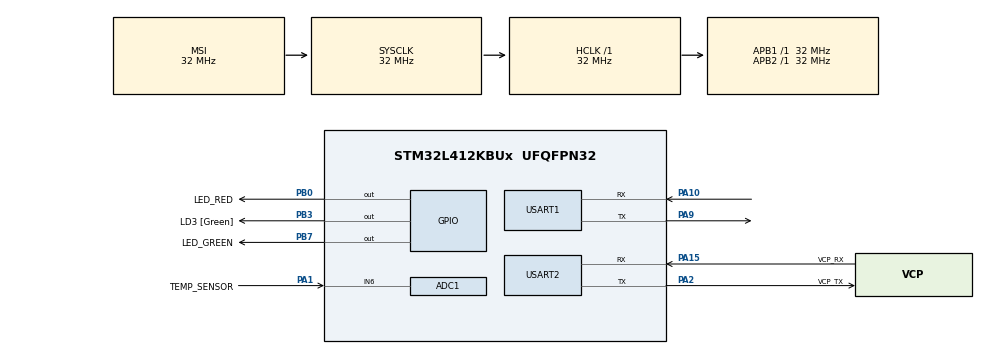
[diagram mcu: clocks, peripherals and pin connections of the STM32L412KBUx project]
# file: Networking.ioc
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ADC1.Channel-2\#ChannelRegularConversion=ADC_CHANNEL_6
ADC1.NbrOfConversionFlag=1
ADC1.OffsetNumber-2\#ChannelRegularConversion=ADC_OFFSET_NONE
ADC1.Rank-2\#ChannelRegularConversion=1
ADC1.SamplingTime-2\#ChannelRegularConversion=ADC_SAMPLETIME_2CYCLES_5
ADC1.master=1
Mcu.Family=STM32L4
Mcu.Name=STM32L412KBUx
Mcu.Package=UFQFPN32
NVIC.PriorityGroup=NVIC_PRIORITYGROUP_4
NVIC.RTC_WKUP_IRQn=true\:0\:0\:false\:false\:true\:true\:true\:true
NVIC.TIM1_UP_TIM16_IRQn=true\:0\:0\:false\:false\:true\:true\:true\:true
NVIC.TIM2_IRQn=true\:1\:0\:true\:false\:true\:true\:true\:true
NVIC.USART1_IRQn=true\:2\:0\:true\:false\:true\:true\:true\:true
NVIC.USART2_IRQn=true\:3\:0\:true\:false\:true\:true\:true\:true
PA1.GPIO_Label=TEMP_SENSOR
PA1.Signal=ADCx_IN6
PA10.GPIO_ModeDefaultPP=GPIO_MODE_AF_OD
PA10.GPIO_Speed=GPIO_SPEED_FREQ_VERY_HIGH
PA10.Mode=Asynchronous
PA10.Signal=USART1_RX
PA13\ (JTMS/SWDIO).GPIO_Label=SWDIO
PA13\ (JTMS/SWDIO).Signal=SYS_JTMS-SWDIO
PA14\ (JTCK/SWCLK).GPIO_Label=SWCLK
PA14\ (JTCK/SWCLK).Signal=SYS_JTCK-SWCLK
PA15\ (JTDI).GPIO_Label=VCP_RX
PA15\ (JTDI).Mode=Asynchronous
PA15\ (JTDI).Signal=USART2_RX
PA2.GPIO_Label=VCP_TX
PA2.Mode=Asynchronous
PA2.Signal=USART2_TX
PA9.GPIO_Speed=GPIO_SPEED_FREQ_VERY_HIGH
PA9.Mode=Asynchronous
PA9.Signal=USART1_TX
PB0.GPIO_Label=LED_RED
PB0.Signal=GPIO_Output
PB3\ (JTDO/TRACESWO).GPIO_Label=LD3 [Green]
PB3\ (JTDO/TRACESWO).GPIO_Speed=GPIO_SPEED_FREQ_LOW
PB3\ (JTDO/TRACESWO).Signal=GPIO_Output
PB7.GPIO_Label=LED_GREEN
PB7.Signal=GPIO_Output
PC14-OSC32_IN\ (PC14).Mode=LSE-External-Oscillator
PC14-OSC32_IN\ (PC14).Signal=RCC_OSC32_IN
PC15-OSC32_OUT\ (PC15).Mode=LSE-External-Oscillator
PC15-OSC32_OUT\ (PC15).Signal=RCC_OSC32_OUT
ProjectManager.HeapSize=0x200
ProjectManager.StackSize=0x400
ProjectManager.TargetToolchain=STM32CubeIDE
RCC.ADCFreq_Value=32000000
RCC.AHBFreq_Value=32000000
RCC.APB1Freq_Value=32000000
RCC.APB1TimFreq_Value=32000000
RCC.APB2Freq_Value=32000000
RCC.APB2TimFreq_Value=32000000
RCC.CortexFreq_Value=32000000
RCC.FLatency=FLASH_LATENCY_1
RCC.HCLKFreq_Value=32000000
RCC.HSE_VALUE=8000000
RCC.HSI48_VALUE=48000000
RCC.HSICalibrationValue=16
RCC.HSI_VALUE=16000000
RCC.MSIClockRange=RCC_MSIRANGE_10
RCC.MSI_VALUE=32000000
RCC.SYSCLKFreq_VALUE=32000000
RCC.USBFreq_Value=32000000
RCC.VCOOutputFreq_Value=256000000
SH.ADCx_IN6.0=ADC1_IN6,IN6-Single-Ended
TIM16.AutoReloadPreload=TIM_AUTORELOAD_PRELOAD_ENABLE
TIM16.ClockDivision=TIM_CLOCKDIVISION_DIV1
TIM16.Period=1000-1
TIM16.Prescaler=32000-1
TIM2.AutoReloadPreload=TIM_AUTORELOAD_PRELOAD_ENABLE
TIM2.ClockDivision=TIM_CLOCKDIVISION_DIV1
TIM2.CounterMode=TIM_COUNTERMODE_UP
TIM2.Period=1000 - 1
TIM2.Prescaler=32 - 1
USART1.VirtualMode-Asynchronous=VM_ASYNC
USART2.VirtualMode-Asynchronous=VM_ASYNC
VP_RTC_VS_RTC_Activate.Mode=RTC_Enabled
VP_RTC_VS_RTC_WakeUp_intern.Mode=WakeUp
VP_TIM16_VS_ClockSourceINT.Mode=Enable_Timer
VP_TIM2_VS_ClockSourceINT.Mode=Internal
board=NUCLEO-L412KB

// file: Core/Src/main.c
/* USER CODE BEGIN Header */
/**
  ******************************************************************************
  * @file           : main.c
  * @brief          : Main program body
  * @author         : Arden Diakhate-Palme
  *                 Modified by Karen A., Ankita B.
  ******************************************************************************
  * @attention
  *
  * Copyright (c) 2022 STMicroelectronics.
  * All rights reserved.
  *
  * This software is licensed under terms that can be found in the LICENSE file
  * in the root directory of this software component.
  * If no LICENSE file comes with this software, it is provided AS-IS.
  *
  ******************************************************************************
  */
/* USER CODE END Header */
#include "main.h"

/* USER CODE BEGIN Includes */
#include <stdlib.h>
#include <string.h>
#include <stdio.h>
#include <stdbool.h>
#include <assert.h>
#include <time.h>

#include "lora.h"
#include "uart.h"
#include "protocols.h"
#include "packet.h"
#include "graph.h"
#include "schedule.h"
#include "exe_sch.h"
#include "stop.h"
#include "standby.h"
#include "prints.h"

/* USER CODE END Includes */

ADC_HandleTypeDef hadc1;

RTC_HandleTypeDef hrtc;

TIM_HandleTypeDef htim2;
TIM_HandleTypeDef htim16;

UART_HandleTypeDef huart1;
UART_HandleTypeDef huart2;

/* USER CODE BEGIN PV */

/***** CONFIGURATION: change before uploading to each board ***/
const int NUM_NODES = 9;
const enum topology_t NETWORK_TOPOLOGY = MESH_9;
#define RESET_NODE 1   // NOTE: only resets address
#define TEST_MODEM 1
const int GW_ROOT_ADDR = 1;
const int NODE_ADDR = 2;
/***** END CONFIGURATION ***/

const int MAX_STP_ITER = 1;
const int STP_TS = 4000; // in milliseconds
const int STP_CYCLE = (NUM_NODES + 1) * STP_TS;
const int MAX_PKT_SZ = 240;
const int DATA_TS = 18000; //in milliseconds
const int DC_TS = 5000; // in milliseconds
const int TEMP_THRESH = 85; // increase in ADC reading of temp to trigger a fire warning
const int DATA_RECV_WIN = 2000; // in milliseconds
const uint32_t ACK_TIMEOUT = 4000; // in milliseconds
const int PKT_TX_DELAY = 41; //ms

const int LORA_TOA = 1972; // Time on Air in ms
const int TIME_BUF = 300;
const int PRINT_TIME = 40; //ms

lora_info_t lora = {};

static bool ts_interrupt = false;

bool data_phase = false;
uint32_t tim2_tick_count = 0; // tick count in milliseconds

char lora_echo_buf[240];

/* USER CODE END PV */

void SystemClock_Config(void);
static void MX_GPIO_Init(void);
static void MX_USART1_UART_Init(void);
static void MX_USART2_UART_Init(void);
static void MX_TIM2_Init(void);
static void MX_RTC_Init(void);
static void MX_TIM16_Init(void);
static void MX_ADC1_Init(void);

int main(void)
{

  /* MCU Configuration--------------------------------------------------------*/

  /* Reset of all peripherals, Initializes the Flash interface and the Systick. */
  HAL_Init();

  /* Configure the system clock */
  SystemClock_Config();

  /* Initialize all configured peripherals */
  MX_GPIO_Init();
  MX_USART1_UART_Init();
  MX_USART2_UART_Init();
  MX_TIM2_Init();
  MX_RTC_Init();
  MX_TIM16_Init();
  MX_ADC1_Init();
  /* USER CODE BEGIN 2 */
    char printf_buf[80];
    int err=0;
    HAL_TIM_Base_Start_IT(&htim2);
    HAL_TIM_Base_Start_IT(&htim16);
    uint32_t start_time, end_time, elapsed_time;
    srand(time(NULL));

    // configure initial mesh topology
    mixnet_node_config_t config;
    config.node_addr = NODE_ADDR;
    set_topology(&config, NUM_NODES, NETWORK_TOPOLOGY);

    /* STP variables */
    int initial_stp_timeout = config.node_addr * STP_TS; // initial timeout to receive updates before transmitting your STP advertisement
    int stp_timeout, stp_remaining_time;
    int stp_iter = 0;
    stp_route_t stp_route_db;
    stp_route_db.root_address = config.node_addr;
    stp_route_db.path_length = 0;
    stp_route_db.next_hop_address = config.node_addr;
    stp_route_db.stp_ports = calloc(config.num_neighbors, 1);
    activate_all_ports(stp_route_db.stp_ports, config.num_neighbors);
    stp_route_db.stp_parent_addr = -1;
    stp_route_db.stp_parent_path_length = -1;
    mixnet_packet_stp_t *recvd_stp_pkt;
    bool stp_txen = false;              // whether the node will transmit in the half-cycle of the STP
    uint8_t *recvd_from_ports = calloc(config.num_neighbors, 1);

    /* LSA variables */
    uint8_t parent_port = 0;
    uint8_t num_tree_children = 0;
    mixnet_packet_lsa_t *recvd_lsa_pkt;
    graph_t *net_graph = graph_init();
    (void)graph_add_neighbors(net_graph, config.node_addr, config.neighbor_addrs, config.num_neighbors);

    /* SCH variables */
    schedule_t node_sch;
    data_sch_config_t sch_config;
    packet_sch_t *recvd_sch_pkt;
    init_sch(&node_sch);
    init_sch_config(&sch_config);
    uint64_t delay_to_phase4 = 0;

    /* DATA variables */
    data_config_t sensor_db;
    packet_data_t *recvd_data_pkt;
    init_sensor_db(&config, &sensor_db);

    HAL_printf("[Node %d]\n", config.node_addr);

    // initialize transcievers
    start_time = tim2_tick_count;
    HAL_GPIO_WritePin(LED_RED_GPIO_Port, LED_RED_Pin, GPIO_PIN_SET);
    #if RESET_NODE
    if((err=config_LORA(&huart1, &huart2, config.node_addr))<0){
        HAL_printf("Configuration error\n");
        exit(1);
    }
    HAL_printf("[configuration done]\n");
    wait_ms(PRINT_TIME);
    #endif
    wait_ms(PRINT_TIME);
    if((err=init_LORA(&huart1, &huart2))<0){
        HAL_printf("Initialization error\n");
        exit(1);
    }
    end_time = tim2_tick_count;
    HAL_printf("[initialization done]\n");
    wait_ms(PRINT_TIME);
    HAL_printf("time: %u\n", tim2_tick_count);
    wait_ms(PRINT_TIME);
    HAL_GPIO_WritePin(LED_RED_GPIO_Port, LED_RED_Pin, GPIO_PIN_RESET);

    char *raw_packet;
    mixnet_packet_t *recvd_packet;
    int recv_port = 0;
    err_code_t err_code;
    bool goto_next_proto_iter = false;

    /* Testing reliable data transfer, and channel conditions */
    #if TEST_MODEM
    int iter = 1;
    start_time = tim2_tick_count;

    while(1){
        if(config.node_addr == 2) {
            HAL_printf("[%d] Receiving 3 packets..\n", config.node_addr);
            for(int i=0; i<3; i++) {
                raw_packet = rdt_recv_pkt(&huart1, &huart2, &config);
                assert(raw_packet != NULL);
                recvd_packet = (mixnet_packet_t*)raw_packet;
                HAL_printf("Application received packet [SEQ %u] from %u\n", recvd_packet->seqnum, recvd_packet->src_address);
            }

            wait_ms(1000);

            HAL_printf("[%d] Sending 3 packets...\n", config.node_addr);
            for(int i=0; i<3; i++){
                send_lsa_req(&config, 1);
            }
        }

        if(config.node_addr == 1) {
            HAL_printf("[%d] Sending 3 packets...\n", config.node_addr);
            for(int i=0; i<3; i++){
                send_lsa_req(&config, 2);
            }

            wait_ms(1000);

            HAL_printf("[%d] Receiving 3 packets..\n", config.node_addr);
            for(int i=0; i<3; i++) {
                raw_packet = rdt_recv_pkt(&huart1, &huart2, &config);
                assert(raw_packet != NULL);
                recvd_packet = (mixnet_packet_t*)raw_packet;
                HAL_printf("Application received packet [SEQ %u] from %u\n", recvd_packet->seqnum, recvd_packet->src_address);
            }
        }

        elapsed_time = tim2_tick_count - start_time;
        HAL_printf("[%d] (%u) cycle done in %lu ms\n\n", iter++, tim2_tick_count, elapsed_time);

        for(int i=0; i<iter; i++){
            HAL_GPIO_WritePin(LD3_GPIO_Port, LD3_Pin, GPIO_PIN_SET);
            wait_ms(500);
            HAL_GPIO_WritePin(LD3_GPIO_Port, LD3_Pin, GPIO_PIN_RESET);
        }

        iter++;
    }
    #endif

    /* Synchronization Option 1:
     * Entry point for all nodes
     * Wait for X minutes in a lower power mode
     */

    if (__HAL_PWR_GET_FLAG(PWR_FLAG_SB) == RESET) {
        __HAL_PWR_CLEAR_FLAG(PWR_FLAG_SB);  // clear the flag
        HAL_GPIO_WritePin(LED_GREEN_GPIO_Port, LED_GREEN_Pin, GPIO_PIN_SET);
        wait_ms(90000);
        /*
        uint16_t stop_time = 90;
        enter_stop(stop_time);
        */
        HAL_GPIO_WritePin(LED_GREEN_GPIO_Port, LED_GREEN_Pin, GPIO_PIN_RESET);
    }

    /* TDM STP PROTOCOL */
    HAL_printf("============= Phase 1: STP =============\n");
    // wait_ms(PRINT_TIME);
    start_time = 0;
    end_time = 0;

    // set the indicate the root at onset (shine red LED)
    if(stp_route_db.root_address == GW_ROOT_ADDR) {
        HAL_GPIO_WritePin(LED_RED_GPIO_Port, LED_RED_Pin, GPIO_PIN_SET);
    }
    while(stp_iter < 2 * MAX_STP_ITER) {
        if(stp_iter % 2 == 0) {
            stp_txen = true;
            stp_timeout = initial_stp_timeout;
        }else{
            stp_txen = false;
            stp_timeout = STP_CYCLE - initial_stp_timeout;
        }

        end_time = tim2_tick_count;
        start_time = tim2_tick_count;
        do {
            // THIS PRINT IS NECESSARY
            HAL_printf("[iteration %u, timeout: %lu]\n", stp_iter+1, (uint32_t)(stp_timeout - (end_time - start_time)));

            raw_packet = lora_recv_data(&huart1, &huart2, start_time, (stp_timeout - (end_time - start_time)), NON_BLOCKING, &err_code);
            end_time = tim2_tick_count;

            // if we actually received a packet
            if(raw_packet != NULL) {
                recvd_packet = (mixnet_packet_t*)raw_packet;

                #if DBG_STP
                HAL_printf("[%d] received packet type %u from %u\n", config.node_addr, recvd_packet->type, recvd_packet->src_address);
                wait_ms(PRINT_TIM);
                #endif

                // was the packet from a neighbor?
                recv_port = get_port(config.neighbor_addrs, config.num_neighbors, recvd_packet->src_address);
                if(recv_port != -1 && (recvd_packet->type == PACKET_TYPE_STP)) {
                    recvd_stp_pkt = (mixnet_packet_stp_t*)recvd_packet->payload;

                    HAL_printf("[%d] received STP packet: (%d, %d, %d)\n",
                                config.node_addr, recvd_stp_pkt->root_address, recvd_stp_pkt->path_length, recvd_stp_pkt->node_address);
                    // wait_ms(PRINT_TIME);
                    UART2_tx(printf_buf);

                    recvd_from_ports[recv_port] = 1;

                    update_stp_db(&config, (uint8_t)recv_port, &stp_route_db, recvd_stp_pkt);
                    if(stp_route_db.root_address == GW_ROOT_ADDR){
                    HAL_GPIO_WritePin(LD3_GPIO_Port, LD3_Pin, GPIO_PIN_SET);
                    }
                }

                free(recvd_packet);
            }
        }while((end_time - start_time) < stp_timeout);

        if(stp_txen) {
            broadcast_stp(&config, &stp_route_db);
        }

        stp_iter++;
    }

    // block ports to unresponsive neighbors (offline nodes)
    for(int i=0; i<config.num_neighbors; i++) {
        stp_route_db.stp_ports[i] &= recvd_from_ports[i];
        if(recvd_from_ports[i] == 0){
            // remove from your own list (before even running LSA)
            remove_tree_neighbor(&config, net_graph, config.neighbor_addrs[i]);
        }
    }
    print_ports(&config, stp_route_db.stp_ports);
    print_graph(net_graph);

    HAL_GPIO_WritePin(LD3_GPIO_Port, LD3_Pin, GPIO_PIN_RESET);

    /* LSA PROTOCOL */
    HAL_printf("============= Phase 2: LSA =============\n");
    // wait_ms(PRINT_TIME);

    if(config.node_addr == GW_ROOT_ADDR) {
        num_tree_children = get_child_node_lsa(&config, &stp_route_db, net_graph);

    // non-gateway nodes
    }else{
        raw_packet = rdt_recv_pkt(&huart1, &huart2, &config);

        // if we actually received a packet
        if(raw_packet != NULL) {
            recvd_packet = (mixnet_packet_t*)raw_packet;

            #if DBG_LSA
            HAL_printf("[%d] received packet from node %u\n", config.node_addr, recvd_packet->src_address);
            #endif

            // was the packet from a neighbor?
            recv_port = get_port(config.neighbor_addrs, config.num_neighbors, recvd_packet->src_address);
            if(recv_port != -1 &&  (recvd_packet->type == PACKET_TYPE_LSA)) {
                recvd_lsa_pkt = (mixnet_packet_lsa_t*)recvd_packet->payload;

                // was the packet from a TREE neighbor?
                if(stp_route_db.stp_ports[recv_port]) {
                    if(recvd_lsa_pkt->flags == LSA_REQ){
                        #if DBG_LSA
                        HAL_printf("[%d] received LSA request from %u\n", config.node_addr, recvd_packet->src_address);
                        #endif

                        parent_port = get_port(config.neighbor_addrs, config.num_neighbors, stp_route_db.stp_parent_addr);
                        assert(parent_port == recv_port);

                        stp_route_db.stp_ports[parent_port] = 0;
                        num_tree_children = get_child_node_lsa(&config, &stp_route_db, net_graph);
                        stp_route_db.stp_ports[parent_port] = 1;

                        wait_ms(500);

                        if((err=send_lsa_resp(&config, &stp_route_db, net_graph)) < 0){
                            HAL_printf("[%d] Failed to send LSA_RESP to upstream parent\n", config.node_addr);
                            goto_next_proto_iter = true;
                        }

                        HAL_printf("[%d] sent complete LSA_RESP\n", config.node_addr);

                    }else{
                        HAL_printf("[%d] ERROR: expected LSA_REQ, received %u\n", config.node_addr, recvd_lsa_pkt->flags);
                    }

                // packet not from a TREE neighbor
                }else{
                    if(recvd_lsa_pkt->flags == LSA_REQ){
                        HAL_printf("[%d] got LSA_REQ from inactive link\n", config.node_addr);
                        send_lsa_inv(&config, recvd_packet->src_address);
                    }
                }
            }
            free(recvd_packet);
        }
    }

    if(goto_next_proto_iter){
        HAL_printf("[%d] Waiting in standby until the next time the protocol is run\n", config.node_addr);
        while(1);
    }

    print_ports(&config, stp_route_db.stp_ports);
    print_graph(net_graph);

    /* RX/TX SCHEDULE */
    HAL_printf("============= Phase 3: SCH =============\n");

    if(config.node_addr == GW_ROOT_ADDR) {
        populate_schedule(net_graph, &node_sch);
        print_schedule(&node_sch);

        // send schedule to each neighbor, and wait for an ACK from them
        query_sch(&config, &stp_route_db, &node_sch, delay_to_phase4);

    // non-gateway nodes
    }else{
        while(1) {
            raw_packet = rdt_recv_pkt(&huart1, &huart2, &config);

            // if we actually received a packet
            if(raw_packet != NULL) {
            recvd_packet = (mixnet_packet_t*)raw_packet;

                // was the packet from a neighbor?
                recv_port = get_port(config.neighbor_addrs, config.num_neighbors, recvd_packet->src_address);
                if(recv_port != -1){
                    if((recvd_packet->type == PACKET_TYPE_SCH) && (stp_route_db.stp_ports[recv_port] == 1)) {
                        recvd_sch_pkt = (packet_sch_t*)recvd_packet->payload;

                        HAL_printf("[%d] received schedule from node %u\n", config.node_addr, recvd_packet->src_address);

                        delay_to_phase4 = recvd_sch_pkt->delay_to_phase4;
                        populate_local_sch(&node_sch, recvd_sch_pkt);
                        print_schedule(&node_sch);

                        populate_sch_config(&config, &node_sch, &sch_config);

                        // send schedule to each child, and wait for an ACK from each of them
                        parent_port = get_port(config.neighbor_addrs, config.num_neighbors, stp_route_db.stp_parent_addr);
                        assert(parent_port == recv_port);

                        if(num_tree_children > 0) {
                            stp_route_db.stp_ports[parent_port] = 0;
                            query_sch(&config, &stp_route_db, &node_sch, delay_to_phase4);
                            stp_route_db.stp_ports[parent_port] = 1;
                        }

                        wait_ms(500);

                        send_sch_ack(&config, stp_route_db.stp_parent_addr);

                        HAL_printf("[%d] sent SCH ACK to node %u\n", config.node_addr, stp_route_db.stp_parent_addr);
                        break;

                    }else if((recvd_packet->type == PACKET_TYPE_LSA) &&
                            (stp_route_db.stp_ports[recv_port] == 0) &&
                            (recvd_lsa_pkt->flags == LSA_REQ)){
                        HAL_printf("[%d] got LSA_REQ from inactive link\n", config.node_addr);
                        send_lsa_inv(&config, recvd_packet->src_address);
                    }
                }

                free(recvd_packet);
            }
        }
        print_sch_config(&sch_config);
    }

    HAL_printf(printf_buf, "time: %lu, waiting %lu\n", (uint32_t)tim2_tick_count, (uint32_t)(delay_to_phase4 - tim2_tick_count)); //depends on the topology
    if(delay_to_phase4 > tim2_tick_count){
        wait_ms(delay_to_phase4 - tim2_tick_count);
    }

    /* DATA Phase */
    HAL_printf("============= Phase 4: DATA ============\n");

    if(config.node_addr == GW_ROOT_ADDR){
        HAL_printf("Running echo server\n");

        raw_packet = rdt_recv_pkt(&huart1, &huart2, &config);

        if(raw_packet != NULL){
            recvd_packet = (mixnet_packet_t*)raw_packet;

            recv_port = get_port(config.neighbor_addrs, config.num_neighbors, recvd_packet->src_address);
            if(recv_port != -1 && (recvd_packet->type == PACKET_TYPE_DATA)) {
                recvd_data_pkt = (packet_data_t*)recvd_packet->payload;
                populate_sensor_data(&sensor_db, recvd_data_pkt);
            }
            free(recvd_packet);
        }

        print_sensor_db(&sensor_db);

    }else{
        exe_sch();

        while(data_phase){
            if(ts_interrupt){
                check_data_schedule(&config, stp_route_db.stp_parent_addr, sch_config, &sensor_db);
                ts_interrupt = false;
            }
        }

        HAL_printf("Done with protocol stack.\n");
    }

    int16_t standby_time = 60;
    HAL_printf("going to sleep for %u seconds\n",  standby_time);
    sleep_LORA();
    enter_standby(hrtc, huart2,  standby_time);

  /* USER CODE END 2 */

  /* Infinite loop */
    while (1)
    {

    }
}

void SystemClock_Config(void)
{
  RCC_OscInitTypeDef RCC_OscInitStruct = {0};
  RCC_ClkInitTypeDef RCC_ClkInitStruct = {0};

  /** Configure the main internal regulator output voltage
  */
  if (HAL_PWREx_ControlVoltageScaling(PWR_REGULATOR_VOLTAGE_SCALE1) != HAL_OK)
  {
    Error_Handler();
  }

  /** Configure LSE Drive Capability
  */
  HAL_PWR_EnableBkUpAccess();
  __HAL_RCC_LSEDRIVE_CONFIG(RCC_LSEDRIVE_LOW);

  /** Initializes the RCC Oscillators according to the specified parameters
  * in the RCC_OscInitTypeDef structure.
  */
  RCC_OscInitStruct.OscillatorType = RCC_OSCILLATORTYPE_LSI|RCC_OSCILLATORTYPE_LSE
                              |RCC_OSCILLATORTYPE_MSI;
  RCC_OscInitStruct.LSEState = RCC_LSE_ON;
  RCC_OscInitStruct.LSIState = RCC_LSI_ON;
  RCC_OscInitStruct.MSIState = RCC_MSI_ON;
  RCC_OscInitStruct.MSICalibrationValue = 0;
  RCC_OscInitStruct.MSIClockRange = RCC_MSIRANGE_10;
  RCC_OscInitStruct.PLL.PLLState = RCC_PLL_NONE;
  if (HAL_RCC_OscConfig(&RCC_OscInitStruct) != HAL_OK)
  {
    Error_Handler();
  }

  /** Initializes the CPU, AHB and APB buses clocks
  */
  RCC_ClkInitStruct.ClockType = RCC_CLOCKTYPE_HCLK|RCC_CLOCKTYPE_SYSCLK
                              |RCC_CLOCKTYPE_PCLK1|RCC_CLOCKTYPE_PCLK2;
  RCC_ClkInitStruct.SYSCLKSource = RCC_SYSCLKSOURCE_MSI;
  RCC_ClkInitStruct.AHBCLKDivider = RCC_SYSCLK_DIV1;
  RCC_ClkInitStruct.APB1CLKDivider = RCC_HCLK_DIV1;
  RCC_ClkInitStruct.APB2CLKDivider = RCC_HCLK_DIV1;

  if (HAL_RCC_ClockConfig(&RCC_ClkInitStruct, FLASH_LATENCY_1) != HAL_OK)
  {
    Error_Handler();
  }

  /** Enable MSI Auto calibration
  */
  HAL_RCCEx_EnableMSIPLLMode();
}

static void MX_ADC1_Init(void)
{

  ADC_MultiModeTypeDef multimode = {0};
  ADC_ChannelConfTypeDef sConfig = {0};

  /** Common config
  */
  hadc1.Instance = ADC1;
  hadc1.Init.ClockPrescaler = ADC_CLOCK_ASYNC_DIV1;
  hadc1.Init.Resolution = ADC_RESOLUTION_12B;
  hadc1.Init.DataAlign = ADC_DATAALIGN_RIGHT;
  hadc1.Init.ScanConvMode = ADC_SCAN_DISABLE;
  hadc1.Init.EOCSelection = ADC_EOC_SINGLE_CONV;
  hadc1.Init.LowPowerAutoWait = DISABLE;
  hadc1.Init.ContinuousConvMode = DISABLE;
  hadc1.Init.NbrOfConversion = 1;
  hadc1.Init.DiscontinuousConvMode = DISABLE;
  hadc1.Init.ExternalTrigConv = ADC_SOFTWARE_START;
  hadc1.Init.ExternalTrigConvEdge = ADC_EXTERNALTRIGCONVEDGE_NONE;
  hadc1.Init.DMAContinuousRequests = DISABLE;
  hadc1.Init.Overrun = ADC_OVR_DATA_PRESERVED;
  hadc1.Init.OversamplingMode = DISABLE;
  if (HAL_ADC_Init(&hadc1) != HAL_OK)
  {
    Error_Handler();
  }

  /** Configure the ADC multi-mode
  */
  multimode.Mode = ADC_MODE_INDEPENDENT;
  if (HAL_ADCEx_MultiModeConfigChannel(&hadc1, &multimode) != HAL_OK)
  {
    Error_Handler();
  }

  /** Configure Regular Channel
  */
  sConfig.Channel = ADC_CHANNEL_6;
  sConfig.Rank = ADC_REGULAR_RANK_1;
  sConfig.SamplingTime = ADC_SAMPLETIME_2CYCLES_5;
  sConfig.SingleDiff = ADC_SINGLE_ENDED;
  sConfig.OffsetNumber = ADC_OFFSET_NONE;
  sConfig.Offset = 0;
  if (HAL_ADC_ConfigChannel(&hadc1, &sConfig) != HAL_OK)
  {
    Error_Handler();
  }

}

static void MX_RTC_Init(void)
{

  /** Initialize RTC Only
  */
  hrtc.Instance = RTC;
  hrtc.Init.HourFormat = RTC_HOURFORMAT_24;
  hrtc.Init.AsynchPrediv = 127;
  hrtc.Init.SynchPrediv = 255;
  hrtc.Init.OutPut = RTC_OUTPUT_DISABLE;
  hrtc.Init.OutPutRemap = RTC_OUTPUT_REMAP_NONE;
  hrtc.Init.OutPutPolarity = RTC_OUTPUT_POLARITY_HIGH;
  hrtc.Init.OutPutType = RTC_OUTPUT_TYPE_OPENDRAIN;
  hrtc.Init.OutPutPullUp = RTC_OUTPUT_PULLUP_NONE;
  if (HAL_RTC_Init(&hrtc) != HAL_OK)
  {
    Error_Handler();
  }

  /** Enable the WakeUp
  */
  if (HAL_RTCEx_SetWakeUpTimer_IT(&hrtc, 0, RTC_WAKEUPCLOCK_RTCCLK_DIV16, 0) != HAL_OK)
  {
    Error_Handler();
  }

}

static void MX_TIM2_Init(void)
{

  TIM_ClockConfigTypeDef sClockSourceConfig = {0};
  TIM_MasterConfigTypeDef sMasterConfig = {0};

  htim2.Instance = TIM2;
  htim2.Init.Prescaler = 32 - 1;
  htim2.Init.CounterMode = TIM_COUNTERMODE_UP;
  htim2.Init.Period = 1000 - 1;
  htim2.Init.ClockDivision = TIM_CLOCKDIVISION_DIV1;
  htim2.Init.AutoReloadPreload = TIM_AUTORELOAD_PRELOAD_ENABLE;
  if (HAL_TIM_Base_Init(&htim2) != HAL_OK)
  {
    Error_Handler();
  }
  sClockSourceConfig.ClockSource = TIM_CLOCKSOURCE_INTERNAL;
  if (HAL_TIM_ConfigClockSource(&htim2, &sClockSourceConfig) != HAL_OK)
  {
    Error_Handler();
  }
  sMasterConfig.MasterOutputTrigger = TIM_TRGO_RESET;
  sMasterConfig.MasterSlaveMode = TIM_MASTERSLAVEMODE_DISABLE;
  if (HAL_TIMEx_MasterConfigSynchronization(&htim2, &sMasterConfig) != HAL_OK)
  {
    Error_Handler();
  }

}

static void MX_TIM16_Init(void)
{

  htim16.Instance = TIM16;
  htim16.Init.Prescaler = 32000-1;
  htim16.Init.CounterMode = TIM_COUNTERMODE_UP;
  htim16.Init.Period = 1000-1;
  htim16.Init.ClockDivision = TIM_CLOCKDIVISION_DIV1;
  htim16.Init.RepetitionCounter = 0;
  htim16.Init.AutoReloadPreload = TIM_AUTORELOAD_PRELOAD_ENABLE;
  if (HAL_TIM_Base_Init(&htim16) != HAL_OK)
  {
    Error_Handler();
  }

}

static void MX_USART1_UART_Init(void)
{

  /* USER CODE BEGIN USART1_Init 0 */

  GPIO_InitTypeDef GPIO_InitStructure;
  GPIO_InitStructure.Alternate = GPIO_AF7_USART1;
  GPIO_InitStructure.Speed = GPIO_SPEED_LOW;
  GPIO_InitStructure.Pull = GPIO_NOPULL;

  // PA9 is UART1 TX
  GPIO_InitStructure.Pin = GPIO_PIN_9;
  GPIO_InitStructure.Mode = GPIO_MODE_AF_PP;
  HAL_GPIO_Init(GPIOA, &GPIO_InitStructure);

  // PA10 is UART1 RX
  GPIO_InitStructure.Pin = GPIO_PIN_10;
  GPIO_InitStructure.Mode = GPIO_MODE_AF_OD;
  HAL_GPIO_Init(GPIOA, &GPIO_InitStructure);

  /* USER CODE END USART1_Init 0 */

  huart1.Instance = USART1;
  huart1.Init.BaudRate = 115200;
  huart1.Init.WordLength = UART_WORDLENGTH_8B;
  huart1.Init.StopBits = UART_STOPBITS_1;
  huart1.Init.Parity = UART_PARITY_NONE;
  huart1.Init.Mode = UART_MODE_TX_RX;
  huart1.Init.HwFlowCtl = UART_HWCONTROL_NONE;
  huart1.Init.OverSampling = UART_OVERSAMPLING_16;
  huart1.Init.OneBitSampling = UART_ONE_BIT_SAMPLE_DISABLE;
  huart1.AdvancedInit.AdvFeatureInit = UART_ADVFEATURE_NO_INIT;
  if (HAL_UART_Init(&huart1) != HAL_OK)
  {
    Error_Handler();
  }

}

static void MX_USART2_UART_Init(void)
{

  huart2.Instance = USART2;
  huart2.Init.BaudRate = 115200;
  huart2.Init.WordLength = UART_WORDLENGTH_8B;
  huart2.Init.StopBits = UART_STOPBITS_1;
  huart2.Init.Parity = UART_PARITY_NONE;
  huart2.Init.Mode = UART_MODE_TX_RX;
  huart2.Init.HwFlowCtl = UART_HWCONTROL_NONE;
  huart2.Init.OverSampling = UART_OVERSAMPLING_16;
  huart2.Init.OneBitSampling = UART_ONE_BIT_SAMPLE_DISABLE;
  huart2.AdvancedInit.AdvFeatureInit = UART_ADVFEATURE_NO_INIT;
  if (HAL_UART_Init(&huart2) != HAL_OK)
  {
    Error_Handler();
  }

}

static void MX_GPIO_Init(void)
{
  GPIO_InitTypeDef GPIO_InitStruct = {0};

  /* GPIO Ports Clock Enable */
  __HAL_RCC_GPIOC_CLK_ENABLE();
  __HAL_RCC_GPIOA_CLK_ENABLE();
  __HAL_RCC_GPIOB_CLK_ENABLE();

  /*Configure GPIO pin Output Level */
  HAL_GPIO_WritePin(GPIOB, LED_RED_Pin|LD3_Pin|LED_GREEN_Pin, GPIO_PIN_RESET);

  /*Configure GPIO pins : LED_RED_Pin LD3_Pin LED_GREEN_Pin */
  GPIO_InitStruct.Pin = LED_RED_Pin|LD3_Pin|LED_GREEN_Pin;
  GPIO_InitStruct.Mode = GPIO_MODE_OUTPUT_PP;
  GPIO_InitStruct.Pull = GPIO_NOPULL;
  GPIO_InitStruct.Speed = GPIO_SPEED_FREQ_LOW;
  HAL_GPIO_Init(GPIOB, &GPIO_InitStruct);

}

/* USER CODE BEGIN 4 */
void HAL_TIM_PeriodElapsedCallback(TIM_HandleTypeDef *htim) {
    if(htim == &htim2) {
        tim2_tick_count++;
    }

    if((htim == &htim16)) {
        ts_interrupt = true;
    }
}

void HAL_UART_TxCpltCallback(UART_HandleTypeDef *huart) {
    if(huart == &huart1) {
        lora.copying_bytes = false;
        lora.msg_end = false;
        lora.buf_idx = 0;
        lora.msg_len = 0;

    }else if(huart == &huart2) {
        if(lora.echo_resp){
            lora.echo_resp = false;
            lora.msg_end = true;
        }
    }
}

void HAL_UART_RxCpltCallback(UART_HandleTypeDef *huart)
{
    if(huart == &huart1){
        if(lora.byte == '+'){
            lora.copying_bytes = true;
        }

        if(lora.copying_bytes && !lora.msg_end){
            lora.buf[lora.buf_idx]=lora.byte;
            lora.buf_idx++;

            HAL_UART_Receive_IT(&huart1, &lora.byte, 1);
        }

        if(lora.copying_bytes && lora.byte == '\n' && lora.prev_byte == '\r'){
            lora.msg_len = lora.buf_idx;
            // lora.msg_end = true;
            memcpy(lora_echo_buf, lora.buf, lora.msg_len);
            lora.echo_resp = true;
            HAL_UART_Transmit_IT(&huart2, lora_echo_buf, lora.msg_len);
        }

        lora.prev_byte = lora.byte;
    }
}

/* USER CODE END 4 */

void Error_Handler(void)
{
  __disable_irq();
  while (1)
  {
  }
}
